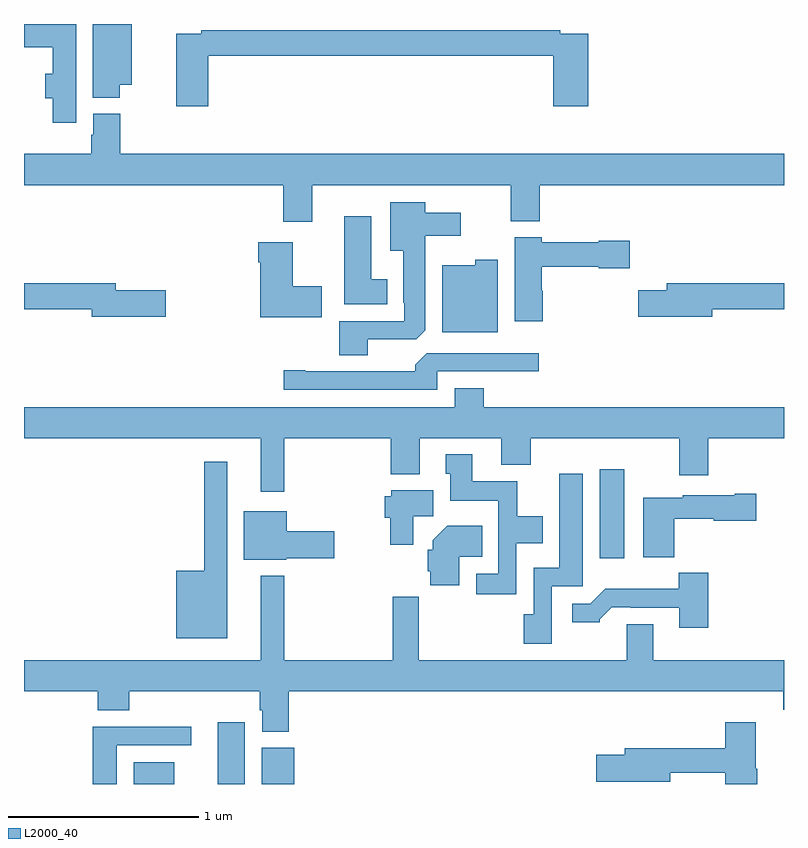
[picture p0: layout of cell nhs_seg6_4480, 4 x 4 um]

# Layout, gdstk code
import gdstk
lib = gdstk.Library(unit=1e-6, precision=1e-09)
def R(c, l, rs):  # rectangles x0, y0, x1, y1
    for r in rs: c.add(gdstk.rectangle(r[:2], r[2:], *l))
def P(c, l, *ps):  # polygons
    for p in ps: c.add(gdstk.Polygon(p, *l))
L2000_40 = (2000, 40)

nhs_seg6_4480 = lib.new_cell('nhs_seg6_4480')
R(nhs_seg6_4480, L2000_40, [(375.578,961.5,375.79,961.615), (376.019,961.5,376.162,961.825), (376.25,961.5,376.423,961.69), (378.029,962.688,378.16,963.157)])
P(nhs_seg6_4480, L2000_40, [(375.504,965.18),(375.568,965.18),(375.568,965.5),(375.362,965.5),(375.362,965.113),(375.504,965.113)],
  [(375.274,965.5),(375,965.5),(375,965.378),(375.152,965.378),(375.152,965.239),(375.113,965.239),(375.113,965.11),(375.152,965.11),(375.152,964.98),(375.274,964.98)],
  [(375.971,965.332),(377.786,965.332),(377.786,965.067),(377.969,965.067),(377.969,965.448),(377.822,965.448),(377.822,965.468),(375.934,965.468),(375.934,965.448),(375.8,965.448),(375.8,965.067),(375.971,965.067)],
  [(376.516,964.652),(377.561,964.652),(377.561,964.463),(377.714,964.463),(377.714,964.652),(379,964.652),(379,964.816),(375.506,964.816),(375.506,965.028),(375.365,965.028),(375.365,964.917),(375.353,964.917),(375.353,964.816),(375,964.816),(375,964.652),(376.364,964.652),(376.364,964.458),(376.516,964.458)],
  [(376.81,963.84),(377.064,963.84),(377.113,963.889),(377.113,964.385),(377.299,964.385),(377.299,964.507),(377.113,964.507),(377.113,964.561),(376.928,964.561),(376.928,964.307),(376.997,964.307),(376.997,964.033),(377.001,964.033),(377.001,963.936),(376.658,963.936),(376.658,963.757),(376.81,963.757)],
  [(376.912,964.156),(376.828,964.156),(376.828,964.489),(376.685,964.489),(376.685,964.025),(376.912,964.025)],
  [(377.729,964.097),(377.724,964.097),(377.724,964.222),(378.024,964.222),(378.024,964.214),(378.187,964.214),(378.187,964.359),(378.024,964.359),(378.024,964.351),(377.724,964.351),(377.724,964.378),(377.582,964.378),(377.582,963.936),(377.729,963.936)],
  [(376.567,964.119),(376.414,964.119),(376.414,964.351),(376.232,964.351),(376.232,964.247),(376.244,964.247),(376.244,963.956),(376.567,963.956)],
  [(377.494,964.258),(377.376,964.258),(377.376,964.231),(377.201,964.231),(377.201,963.878),(377.494,963.878)],
  [(378.622,964),(379,964),(379,964.136),(378.383,964.136),(378.383,964.1),(378.234,964.1),(378.234,963.958),(378.622,963.958)],
  [(375.745,964.1),(375.484,964.1),(375.484,964.136),(375,964.136),(375,964),(375.356,964),(375.356,963.958),(375.745,963.958)],
  [(377.175,963.672),(377.71,963.672),(377.71,963.768),(377.121,963.768),(377.06,963.706),(377.06,963.672),(376.48,963.672),(376.48,963.677),(376.368,963.677),(376.368,963.576),(377.175,963.576)],
  [(376.369,963.32),(376.931,963.32),(376.931,963.131),(377.083,963.131),(377.083,963.32),(377.513,963.32),(377.513,963.179),(377.666,963.179),(377.666,963.32),(378.449,963.32),(378.449,963.126),(378.602,963.126),(378.602,963.32),(379,963.32),(379,963.484),(377.42,963.484),(377.42,963.583),(377.267,963.583),(377.267,963.484),(375,963.484),(375,963.32),(376.247,963.32),(376.247,963.039),(376.369,963.039)],
  [(377.592,962.768),(377.731,962.768),(377.731,962.908),(377.595,962.908),(377.595,963.094),(377.359,963.094),(377.359,963.235),(377.219,963.235),(377.219,963.132),(377.243,963.132),(377.243,962.99),(377.496,962.99),(377.496,962.607),(377.379,962.607),(377.379,962.499),(377.592,962.499)],
  [(376.069,963.196),(375.948,963.196),(375.948,962.623),(375.8,962.623),(375.8,962.267),(376.069,962.267)],
  [(377.778,962.541),(377.941,962.541),(377.941,963.133),(377.816,963.133),(377.816,962.638),(377.682,962.638),(377.682,962.394),(377.63,962.394),(377.63,962.238),(377.778,962.238)],
  [(377.049,962.908),(377.155,962.908),(377.155,963.046),(376.932,963.046),(376.932,963.015),(376.898,963.015),(376.898,962.901),(376.928,962.901),(376.928,962.76),(377.049,962.76)],
  [(378.422,962.897),(378.63,962.897),(378.63,962.885),(378.853,962.885),(378.853,963.027),(378.74,963.027),(378.74,963.019),(378.468,963.019),(378.468,963.007),(378.26,963.007),(378.26,962.693),(378.422,962.693)],
  [(376.38,962.687),(376.633,962.687),(376.633,962.829),(376.384,962.829),(376.384,962.935),(376.157,962.935),(376.157,962.681),(376.38,962.681)],
  [(377.29,962.696),(377.411,962.696),(377.411,962.86),(377.228,962.86),(377.15,962.782),(377.15,962.733),(377.126,962.733),(377.126,962.619),(377.138,962.619),(377.138,962.546),(377.29,962.546)],
  [(378.602,962.611),(378.447,962.611),(378.447,962.527),(378.058,962.527),(377.979,962.448),(377.886,962.448),(377.886,962.351),(378.03,962.351),(378.03,962.366),(378.094,962.43),(378.193,962.43),(378.193,962.427),(378.449,962.427),(378.449,962.322),(378.602,962.322)],
  [(376.394,961.988),(378.997,961.988),(378.997,961.892),(379,961.892),(379,962.152),(378.313,962.152),(378.313,962.342),(378.173,962.342),(378.173,962.152),(377.078,962.152),(377.078,962.485),(376.942,962.485),(376.942,962.152),(376.369,962.152),(376.369,962.596),(376.247,962.596),(376.247,962.152),(375,962.152),(375,961.988),(375.389,961.988),(375.389,961.889),(375.554,961.889),(375.554,961.988),(376.241,961.988),(376.241,961.887),(376.253,961.887),(376.253,961.775),(376.394,961.775)],
  [(378.858,961.581),(378.85,961.581),(378.85,961.825),(378.692,961.825),(378.692,961.687),(378.161,961.687),(378.161,961.653),(378.012,961.653),(378.012,961.511),(378.4,961.511),(378.4,961.558),(378.692,961.558),(378.692,961.5),(378.858,961.5)],
  [(375.487,961.704),(375.88,961.704),(375.88,961.802),(375.362,961.802),(375.362,961.5),(375.487,961.5)])

lib.write_gds('nhs_seg6_4480.gds')
